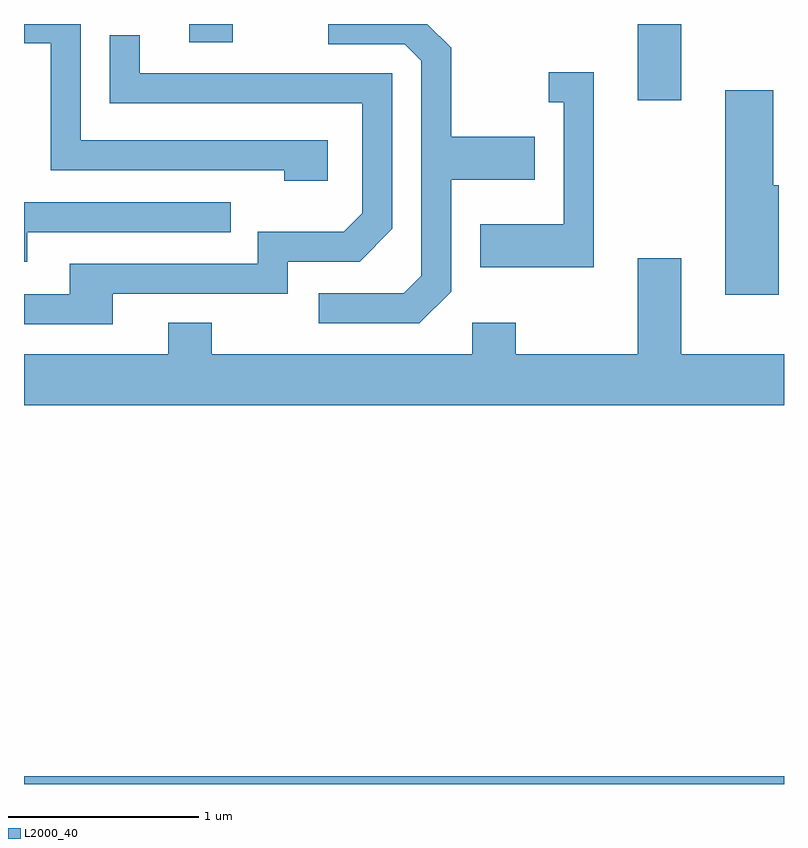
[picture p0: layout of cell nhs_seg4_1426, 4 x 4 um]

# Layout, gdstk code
import gdstk
lib = gdstk.Library(unit=1e-6, precision=1e-09)
def R(c, l, rs):  # rectangles x0, y0, x1, y1
    for r in rs: c.add(gdstk.rectangle(r[:2], r[2:], *l))
def P(c, l, *ps):  # polygons
    for p in ps: c.add(gdstk.Polygon(p, *l))
L2000_40 = (2000, 40)

nhs_seg4_1426 = lib.new_cell('nhs_seg4_1426')
R(nhs_seg4_1426, L2000_40, [(225.611,1385.982,229.611,1386.024), (228.841,1389.581,229.069,1389.982), (226.481,1389.886,226.709,1389.982)])
P(nhs_seg4_1426, L2000_40, [(227.859,1388.574),(227.859,1389.161),(228.299,1389.161),(228.299,1389.389),(227.859,1389.389),(227.859,1389.857),(227.734,1389.982),(227.213,1389.982),(227.213,1389.876),(227.614,1389.876),(227.701,1389.789),(227.701,1388.657),(227.609,1388.564),(227.163,1388.564),(227.163,1388.406),(227.692,1388.406)],
  [(227.209,1389.369),(225.909,1389.369),(225.909,1389.982),(225.611,1389.982),(225.611,1389.881),(225.751,1389.881),(225.751,1389.211),(226.981,1389.211),(226.981,1389.156),(227.209,1389.156)],
  [(226.079,1388.561),(226.999,1388.561),(226.999,1388.731),(227.377,1388.731),(227.549,1388.904),(227.549,1389.724),(226.219,1389.724),(226.219,1389.923),(226.061,1389.923),(226.061,1389.566),(227.391,1389.566),(227.391,1388.987),(227.294,1388.889),(226.841,1388.889),(226.841,1388.719),(225.851,1388.719),(225.851,1388.559),(225.611,1388.559),(225.611,1388.401),(226.079,1388.401)],
  [(228.609,1389.729),(228.373,1389.729),(228.373,1389.571),(228.451,1389.571),(228.451,1388.929),(228.011,1388.929),(228.011,1388.701),(228.609,1388.701)],
  [(229.584,1389.134),(229.554,1389.134),(229.554,1389.634),(229.301,1389.634),(229.301,1388.556),(229.584,1388.556)],
  [(225.629,1388.886),(226.698,1388.886),(226.698,1389.044),(225.611,1389.044),(225.611,1388.731),(225.629,1388.731)],
  [(229.611,1388.244),(229.069,1388.244),(229.069,1388.749),(228.841,1388.749),(228.841,1388.244),(228.199,1388.244),(228.199,1388.409),(227.971,1388.409),(227.971,1388.244),(226.599,1388.244),(226.599,1388.409),(226.371,1388.409),(226.371,1388.244),(225.611,1388.244),(225.611,1387.976),(229.611,1387.976)])

lib.write_gds('nhs_seg4_1426.gds')
